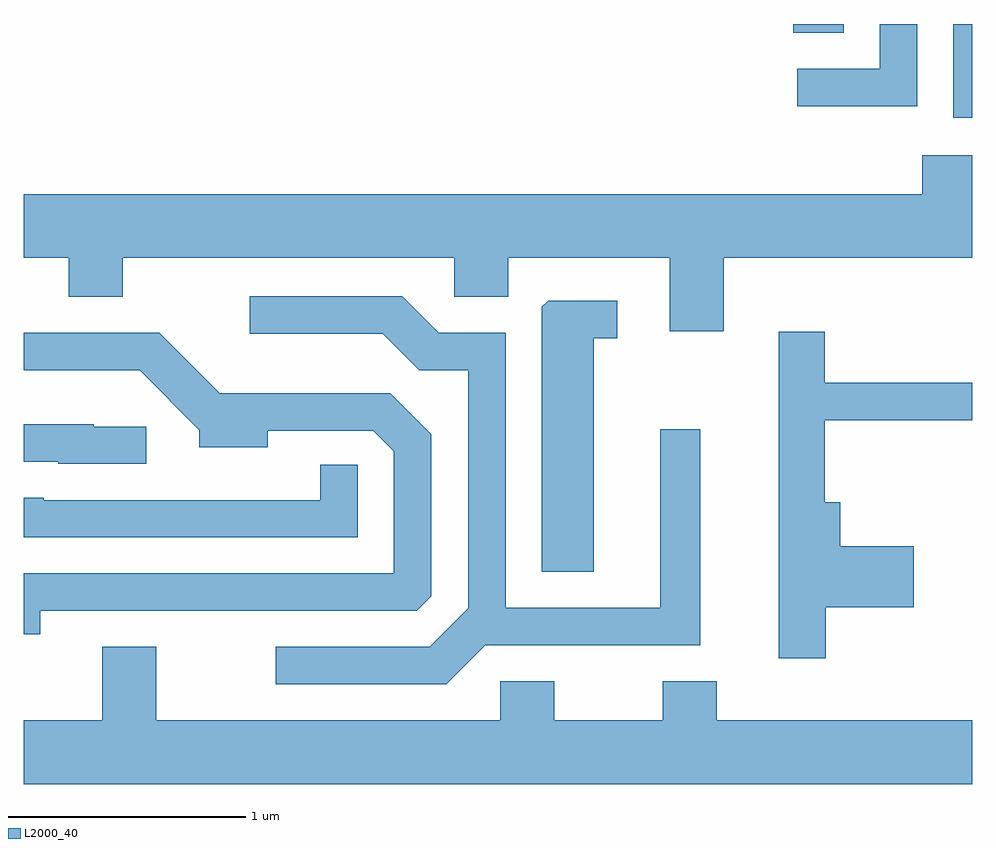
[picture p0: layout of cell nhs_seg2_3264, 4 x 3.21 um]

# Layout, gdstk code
import gdstk
lib = gdstk.Library(unit=1e-6, precision=1e-09)
def R(c, l, rs):  # rectangles x0, y0, x1, y1
    for r in rs: c.add(gdstk.rectangle(r[:2], r[2:], *l))
def P(c, l, *ps):  # polygons
    for p in ps: c.add(gdstk.Polygon(p, *l))
L2000_40 = (2000, 40)

nhs_seg2_3264 = lib.new_cell('nhs_seg2_3264')
R(nhs_seg2_3264, L2000_40, [(285.531,993.406,285.611,993.802), (284.856,993.766,285.069,993.802)])
P(nhs_seg2_3264, L2000_40, [(285.379,993.802),(285.221,993.802),(285.221,993.614),(284.873,993.614),(284.873,993.456),(285.379,993.456)],
  [(281.611,992.816),(281.801,992.816),(281.801,992.651),(282.029,992.651),(282.029,992.816),(283.426,992.816),(283.426,992.651),(283.654,992.651),(283.654,992.816),(284.336,992.816),(284.336,992.506),(284.564,992.506),(284.564,992.816),(285.611,992.816),(285.611,993.249),(285.401,993.249),(285.401,993.084),(281.611,993.084)],
  [(283.557,991.181),(284.464,991.181),(284.464,992.093),(284.296,992.093),(284.296,991.339),(283.644,991.339),(283.644,992.499),(283.362,992.499),(283.207,992.654),(282.563,992.654),(282.563,992.496),(283.124,992.496),(283.279,992.341),(283.486,992.341),(283.486,991.337),(283.324,991.174),(282.673,991.174),(282.673,991.016),(283.392,991.016)],
  [(284.014,992.476),(284.113,992.476),(284.113,992.634),(283.822,992.634),(283.796,992.609),(283.796,991.491),(284.014,991.491)],
  [(284.994,991.341),(285.364,991.341),(285.364,991.599),(285.054,991.599),(285.054,991.784),(284.989,991.784),(284.989,992.131),(285.611,992.131),(285.611,992.289),(284.989,992.289),(284.989,992.504),(284.796,992.504),(284.796,991.126),(284.994,991.126)],
  [(281.679,991.326),(283.269,991.326),(283.329,991.387),(283.329,992.072),(283.157,992.244),(282.437,992.244),(282.182,992.499),(281.611,992.499),(281.611,992.341),(282.099,992.341),(282.351,992.089),(282.351,992.016),(282.639,992.016),(282.639,992.086),(283.084,992.086),(283.171,991.999),(283.171,991.484),(281.611,991.484),(281.611,991.228),(281.679,991.228)],
  [(282.128,992.104),(281.905,992.104),(281.905,992.114),(281.611,992.114),(281.611,991.956),(281.755,991.956),(281.755,991.946),(282.128,991.946)],
  [(283.019,991.943),(282.861,991.943),(282.861,991.794),(281.695,991.794),(281.695,991.804),(281.611,991.804),(281.611,991.636),(283.019,991.636)],
  [(285.611,990.864),(284.534,990.864),(284.534,991.029),(284.306,991.029),(284.306,990.864),(283.849,990.864),(283.849,991.029),(283.621,991.029),(283.621,990.864),(282.169,990.864),(282.169,991.174),(281.941,991.174),(281.941,990.864),(281.611,990.864),(281.611,990.596),(285.611,990.596)])

lib.write_gds('nhs_seg2_3264.gds')
